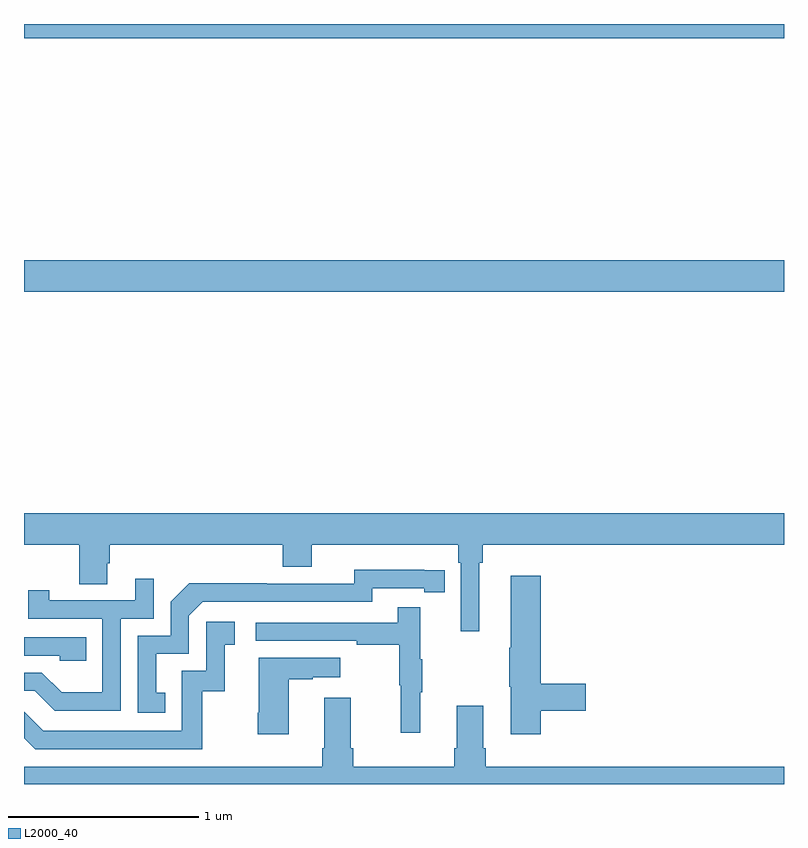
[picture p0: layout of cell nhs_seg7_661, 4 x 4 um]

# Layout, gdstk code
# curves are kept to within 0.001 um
import gdstk
lib = gdstk.Library(unit=1e-6, precision=1e-09)
def R(c, l, rs):  # rectangles x0, y0, x1, y1
    for r in rs: c.add(gdstk.rectangle(r[:2], r[2:], *l))
def P(c, l, *ps):  # polygons
    for p in ps: c.add(gdstk.Polygon(p, *l))
L2000_40 = (2000, 40)

nhs_seg7_661 = lib.new_cell('nhs_seg7_661')
R(nhs_seg7_661, L2000_40, [(161,1024.592,165,1024.756), (161,1025.924,165,1026)])
P(nhs_seg7_661, L2000_40, [(163.396,1023.164),(163.415,1023.164),(163.415,1023.26),(165,1023.26),(165,1023.424),(161,1023.424),(161,1023.26),(161.29,1023.26),(161.29,1023.052),(161.437,1023.052),(161.437,1023.162),(161.45,1023.162),(161.45,1023.26),(162.362,1023.26),(162.362,1023.143),(162.514,1023.143),(162.514,1023.26),(163.286,1023.26),(163.286,1023.164),(163.299,1023.164),(163.299,1022.805),(163.396,1022.805)],
  [(161.744,1022.481),(161.695,1022.481),(161.695,1022.685),(161.868,1022.685),(161.868,1022.886),(161.94,1022.958),(162.834,1022.958),(162.834,1023.03),(163.106,1023.03),(163.106,1023.01),(163.214,1023.01),(163.214,1023.126),(162.738,1023.127),(162.738,1023.054),(162.278,1023.054),(162.278,1023.056),(161.87,1023.056),(161.772,1022.958),(161.772,1022.781),(161.598,1022.781),(161.598,1022.376),(161.744,1022.376)],
  [(163.721,1022.386),(163.957,1022.386),(163.957,1022.528),(163.721,1022.528),(163.721,1023.097),(163.562,1023.097),(163.562,1022.717),(163.555,1022.717),(163.555,1022.511),(163.562,1022.511),(163.562,1022.262),(163.721,1022.262)],
  [(161.508,1022.871),(161.682,1022.871),(161.682,1023.079),(161.585,1023.079),(161.585,1022.967),(161.134,1022.967),(161.134,1023.019),(161.023,1023.019),(161.023,1022.871),(161.412,1022.871),(161.412,1022.482),(161.198,1022.482),(161.094,1022.586),(161,1022.586),(161,1022.49),(161.057,1022.49),(161.162,1022.385),(161.508,1022.385)],
  [(163.085,1022.483),(163.096,1022.483),(163.096,1022.657),(163.085,1022.657),(163.085,1022.929),(162.967,1022.929),(162.967,1022.85),(162.219,1022.85),(162.219,1022.754),(162.751,1022.754),(162.751,1022.734),(162.975,1022.734),(162.975,1022.52),(162.982,1022.52),(162.982,1022.271),(163.085,1022.271)],
  [(161.938,1022.487),(162.056,1022.487),(162.056,1022.733),(162.109,1022.733),(162.109,1022.854),(161.958,1022.854),(161.958,1022.595),(161.829,1022.595),(161.829,1022.28),(161.1,1022.28),(161,1022.38),(161,1022.242),(161.058,1022.184),(161.938,1022.184)],
  [(161.327,1022.772),(161,1022.772),(161,1022.676),(161.187,1022.676),(161.187,1022.649),(161.327,1022.649)],
  [(162.394,1022.551),(162.521,1022.551),(162.521,1022.561),(162.664,1022.561),(162.664,1022.665),(162.236,1022.665),(162.236,1022.374),(162.229,1022.374),(162.229,1022.262),(162.394,1022.262)],
  [(165,1022.092),(163.43,1022.092),(163.43,1022.188),(163.417,1022.188),(163.417,1022.413),(163.277,1022.413),(163.277,1022.188),(163.265,1022.188),(163.265,1022.092),(162.734,1022.092),(162.734,1022.188),(162.721,1022.188),(162.721,1022.455),(162.581,1022.455),(162.581,1022.188),(162.569,1022.188),(162.569,1022.092),(161,1022.092),(161,1022),(165,1022)])

lib.write_gds('nhs_seg7_661.gds')
